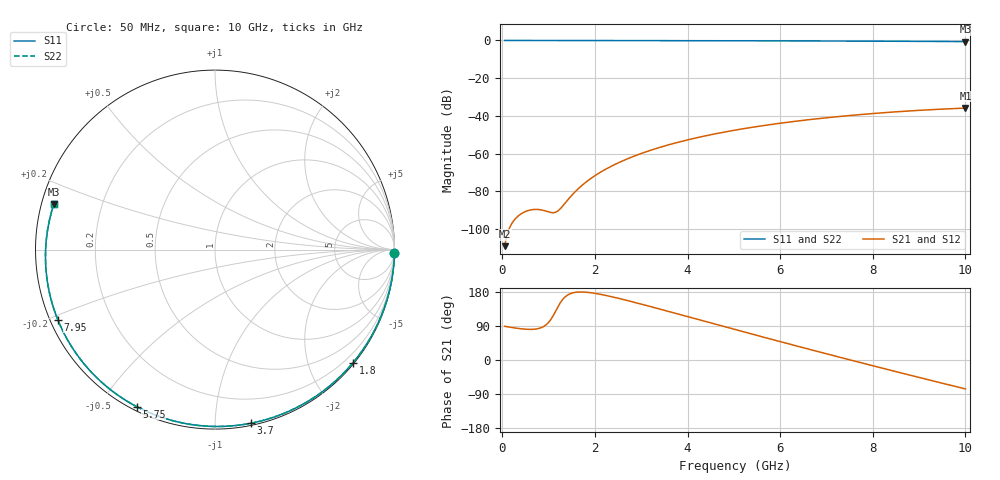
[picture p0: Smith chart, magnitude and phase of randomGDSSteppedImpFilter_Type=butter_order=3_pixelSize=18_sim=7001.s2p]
! freq	dB(S11)	phase(S11)	dB(S12)	phase(S12)
!  dB(S21)	phase(S21)	dB(S22)	phase(S22)
!S-par simulation data
#  GHz  S  DB  R 50
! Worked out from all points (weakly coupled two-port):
!   200 points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, 50 MHz to 10 GHz, reference 50 ohm
!   highest |S21| = -35.88 dB at 10 GHz (marker M1); lowest = -109.1 dB at 50 MHz (marker M2)
!   lowest |S11| = -0.6 dB at 10 GHz (marker M3), VSWR 28.83, Z = 1.77 + j6.94 ohm
!   |S11| at or under -10 dB: nowhere
!   |S22| runs from -0.6 to 0.0 dB; largest |S21 - S12| = 0
!   S11 on the Smith chart (normalised r, x): 50 MHz: open; 1.8 GHz: 0.03, -2.79; 3.7 GHz: 0.02, -1.23; 5.75 GHz: 0.02, -0.62; 7.95 GHz: 0.02, -0.21; 10 GHz: 0.04, +0.14
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0.05  -0.00 -1.1  -109.13 88.9  -109.13 88.9  -0.00 -1.1
0.75  -0.02 -16.7  -89.63 82.2  -89.63 82.2  -0.02 -16.7
1.15  -0.03 -25.4  -91.14 128.6  -91.14 128.6  -0.03 -25.4
1.55  -0.04 -34.1  -80.84 178.0  -80.84 178.0  -0.04 -34.1
1.6  -0.04 -35.1  -79.60 179.0  -79.60 179.0  -0.04 -35.1
1.75  -0.05 -38.3  -76.28 179.4  -76.28 179.4  -0.05 -38.3
1.8  -0.05 -39.4  -75.28 179.0  -75.28 179.0  -0.05 -39.4
2.1  -0.06 -45.7  -70.19 173.7  -70.19 173.7  -0.06 -45.7
2.5  -0.07 -54.1  -64.98 163.0  -64.98 163.0  -0.07 -54.1
2.9  -0.08 -62.3  -60.86 150.7  -60.86 150.7  -0.08 -62.3
3.4  -0.10 -72.3  -56.73 134.5  -56.73 134.5  -0.10 -72.3
3.7  -0.10 -78.2  -54.63 124.5  -54.63 124.5  -0.10 -78.2
4.35  -0.13 -90.7  -50.79 102.9  -50.79 102.9  -0.13 -90.7
5.05  -0.16 -103.8  -47.47 79.6  -47.47 79.6  -0.16 -103.8
5.75  -0.20 -116.5  -44.76 56.6  -44.76 56.6  -0.20 -116.5
6.7  -0.26 -133.6  -41.81 25.9  -41.81 25.9  -0.26 -133.6
7.35  -0.31 -145.2  -40.16 5.2  -40.16 5.2  -0.31 -145.2
7.95  -0.36 -156.0  -38.87 -13.6  -38.87 -13.6  -0.36 -156.0
8.35  -0.40 -163.4  -38.12 -26.0  -38.12 -26.0  -0.40 -163.4
9.2  -0.50 -179.6  -36.79 -52.2  -36.79 -52.2  -0.50 -179.6
9.6  -0.55 172.5  -36.30 -64.3  -36.30 -64.3  -0.55 172.4
10  -0.60 164.2  -35.88 -76.2  -35.88 -76.2  -0.60 164.2
